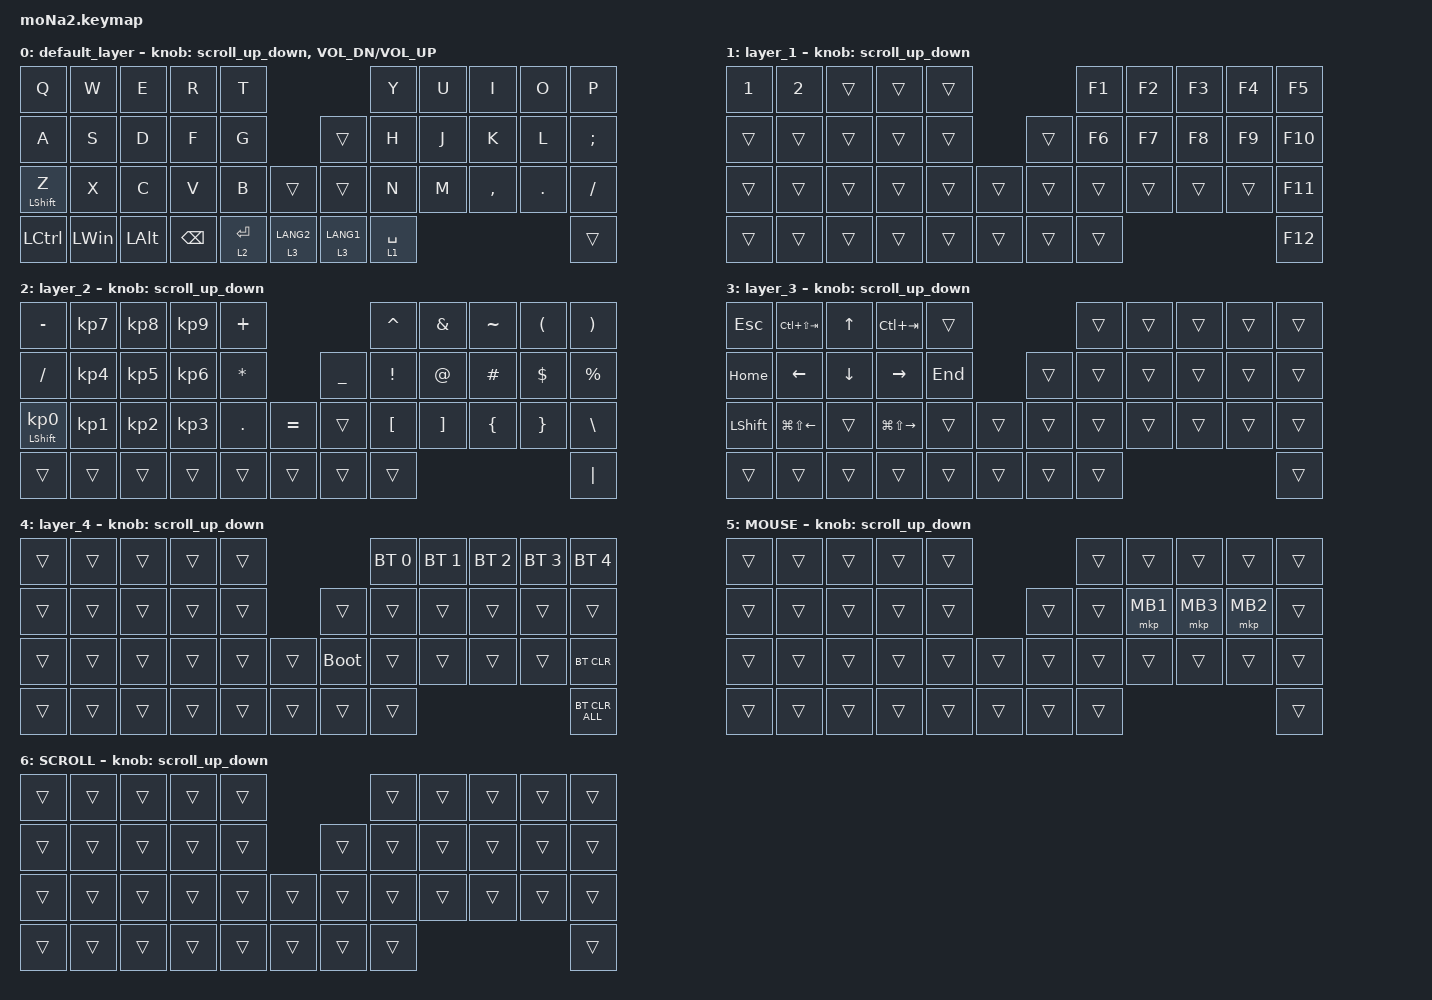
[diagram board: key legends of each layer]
#include <behaviors.dtsi>
#include <dt-bindings/zmk/bt.h>
#include <dt-bindings/zmk/keys.h>
#include <dt-bindings/zmk/pointing.h>

#define ZMK_POINTING_DEFAULT_SCRL_VAL 100
#define MOUSE 5
#define SCROLL 6

&mt {
    flavor = "balanced";
    quick-tap-ms = <0>;
};

&lt {
    quick-tap-ms = <300>;
    flavor = "balanced";
};

/ {
    combos {
        compatible = "zmk,combos";

        double_quotation {
            bindings = <&kp DOUBLE_QUOTES>;
            key-positions = <19 18>;
        };

        single_quotation {
            bindings = <&kp SINGLE_QUOTE>;
            key-positions = <18 17>;
        };

        layer4_ESC {
            bindings = <&lt 4 ESC>;
            key-positions = <39 38>;
        };

        tab {
            bindings = <&kp TAB>;
            key-positions = <11 12>;
        };
    };

    macros {
        to_layer_0: to_layer_0 {
            compatible = "zmk,behavior-macro-one-param";
            #binding-cells = <1>;
            bindings = <&to 0 &macro_param_1to1 &kp MACRO_PLACEHOLDER>;
            label = "TO_LAYER_0";
        };
    };

    behaviors {
        lt_to_layer_0: lt_to_layer_0 {
            compatible = "zmk,behavior-hold-tap";
            label = "LAYER_TAP_TO_0";
            bindings = <&mo>, <&to_layer_0>;

            #binding-cells = <2>;
            tapping-term-ms = <200>;
        };

        scroll_up_down: behavior_sensor_rotate_mouse_wheel_up_down {
            compatible = "zmk,behavior-sensor-rotate";
            #sensor-binding-cells = <0>;
            bindings = <&msc SCRL_UP>, <&msc SCRL_DOWN>;

            tap-ms = <20>;
        };
    };

    keymap {
        compatible = "zmk,keymap";

        default_layer {
            bindings = <
&kp Q             &kp W         &kp E         &kp R          &kp T                                                          &kp Y        &kp U  &kp I      &kp O    &kp P
&kp A             &kp S         &kp D         &kp F          &kp G                                  &trans                  &kp H        &kp J  &kp K      &kp L    &kp SEMICOLON
&mt LEFT_SHIFT Z  &kp X         &kp C         &kp V          &kp B        &trans                    &trans                  &kp N        &kp M  &kp COMMA  &kp DOT  &kp SLASH
&kp LCTRL         &kp LEFT_WIN  &kp LEFT_ALT  &kp BACKSPACE  &lt 2 ENTER  &lt_to_layer_0 3 LANG2    &lt_to_layer_0 3 LANG1  &lt 1 SPACE                             &trans
            >;

            sensor-bindings =
                <&scroll_up_down>,
                <&inc_dec_kp C_VOL_DN C_VOL_UP>;
        };

        layer_1 {
            bindings = <
&kp NUMBER_1  &kp NUMBER_2  &trans  &trans  &trans                    &kp F1  &kp F2  &kp F3  &kp F4  &kp F5
&trans        &trans        &trans  &trans  &trans            &trans  &kp F6  &kp F7  &kp F8  &kp F9  &kp F10
&trans        &trans        &trans  &trans  &trans  &trans    &trans  &trans  &trans  &trans  &trans  &kp F11
&trans        &trans        &trans  &trans  &trans  &trans    &trans  &trans                          &kp F12
            >;

            sensor-bindings = <&scroll_up_down>;
        };

        layer_2 {
            bindings = <
&kp MINUS                   &kp KP_NUMBER_7  &kp KP_NUMBER_8  &kp KP_NUMBER_9  &kp PLUS                                   &kp CARET         &kp AMPERSAND      &kp TILDE       &kp LEFT_PARENTHESIS  &kp RIGHT_PARENTHESIS
&kp SLASH                   &kp KP_NUMBER_4  &kp KP_NUMBER_5  &kp KP_NUMBER_6  &kp ASTERISK               &kp UNDERSCORE  &kp EXCLAMATION   &kp AT_SIGN        &kp HASH        &kp DOLLAR            &kp PERCENT
&mt LEFT_SHIFT KP_NUMBER_0  &kp KP_NUMBER_1  &kp KP_NUMBER_2  &kp KP_NUMBER_3  &kp PERIOD    &kp EQUAL    &trans          &kp LEFT_BRACKET  &kp RIGHT_BRACKET  &kp LEFT_BRACE  &kp RIGHT_BRACE       &kp BACKSLASH
&trans                      &trans           &trans           &trans           &trans        &trans       &trans          &trans                                                                     &kp PIPE
            >;

            sensor-bindings = <&scroll_up_down>;
        };

        layer_3 {
            bindings = <
&kp ESCAPE      &kp LC(LS(TAB))         &kp UP_ARROW    &kp LC(TAB)              &trans                     &trans  &trans  &trans  &trans  &trans
&kp HOME        &kp LEFT_ARROW          &kp DOWN_ARROW  &kp RIGHT_ARROW          &kp END            &trans  &trans  &trans  &trans  &trans  &trans
&kp LEFT_SHIFT  &kp LG(LS(LEFT_ARROW))  &trans          &kp LG(LS(RIGHT_ARROW))  &trans   &trans    &trans  &trans  &trans  &trans  &trans  &trans
&trans          &trans                  &trans          &trans                   &trans   &trans    &trans  &trans                          &trans
            >;

            sensor-bindings = <&scroll_up_down>;
        };

        layer_4 {
            bindings = <
&trans  &trans  &trans  &trans  &trans                         &bt BT_SEL 0  &bt BT_SEL 1  &bt BT_SEL 2  &bt BT_SEL 3  &bt BT_SEL 4
&trans  &trans  &trans  &trans  &trans            &trans       &trans        &trans        &trans        &trans        &trans
&trans  &trans  &trans  &trans  &trans  &trans    &bootloader  &trans        &trans        &trans        &trans        &bt BT_CLR
&trans  &trans  &trans  &trans  &trans  &trans    &trans       &trans                                                  &bt BT_CLR_ALL
            >;

            sensor-bindings = <&scroll_up_down>;
        };

        MOUSE {
            bindings = <
&trans  &trans  &trans  &trans  &trans                    &trans  &trans    &trans    &trans    &trans
&trans  &trans  &trans  &trans  &trans            &trans  &trans  &mkp MB1  &mkp MB3  &mkp MB2  &trans
&trans  &trans  &trans  &trans  &trans  &trans    &trans  &trans  &trans    &trans    &trans    &trans
&trans  &trans  &trans  &trans  &trans  &trans    &trans  &trans                                &trans
            >;

            sensor-bindings = <&scroll_up_down>;
        };

        SCROLL {
            bindings = <
&trans  &trans  &trans  &trans  &trans                    &trans  &trans  &trans  &trans  &trans
&trans  &trans  &trans  &trans  &trans            &trans  &trans  &trans  &trans  &trans  &trans
&trans  &trans  &trans  &trans  &trans  &trans    &trans  &trans  &trans  &trans  &trans  &trans
&trans  &trans  &trans  &trans  &trans  &trans    &trans  &trans                          &trans
            >;

            sensor-bindings = <&scroll_up_down>;
        };
    };
};
